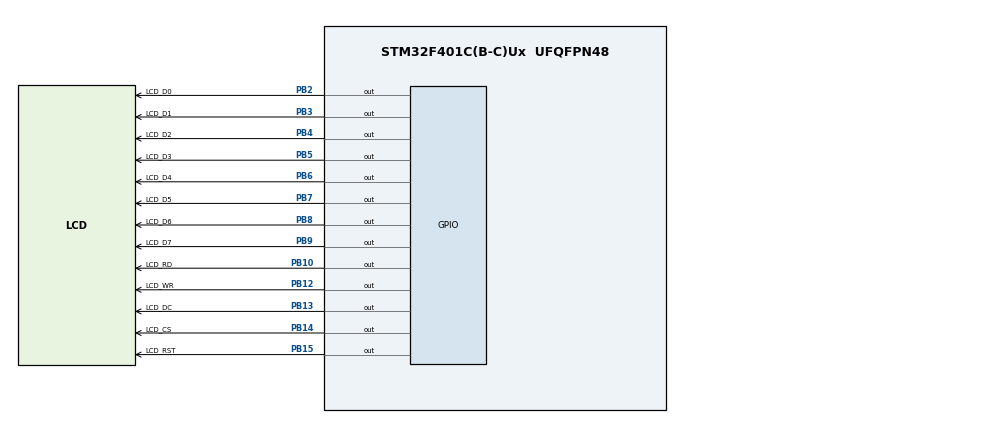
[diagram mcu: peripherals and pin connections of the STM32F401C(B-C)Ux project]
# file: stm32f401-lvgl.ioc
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ADC1.Channel-2\#ChannelRegularConversion=ADC_CHANNEL_VBAT
ADC1.NbrOfConversionFlag=1
ADC1.Rank-2\#ChannelRegularConversion=1
ADC1.SamplingTime-2\#ChannelRegularConversion=ADC_SAMPLETIME_3CYCLES
ADC1.master=1
Mcu.Family=STM32F4
Mcu.Name=STM32F401C(B-C)Ux
Mcu.Package=UFQFPN48
NVIC.PriorityGroup=NVIC_PRIORITYGROUP_4
PA13.Mode=Serial_Wire
PA13.Signal=SYS_JTMS-SWDIO
PA14.Mode=Serial_Wire
PA14.Signal=SYS_JTCK-SWCLK
PB10.GPIO_Label=LCD_RD
PB10.GPIO_ModeDefaultOutputPP=GPIO_MODE_OUTPUT_PP
PB10.GPIO_PuPd=GPIO_NOPULL
PB10.GPIO_Speed=GPIO_SPEED_FREQ_VERY_HIGH
PB10.PinState=GPIO_PIN_RESET
PB10.Signal=GPIO_Output
PB12.GPIO_Label=LCD_WR
PB12.GPIO_ModeDefaultOutputPP=GPIO_MODE_OUTPUT_PP
PB12.GPIO_PuPd=GPIO_NOPULL
PB12.GPIO_Speed=GPIO_SPEED_FREQ_VERY_HIGH
PB12.PinState=GPIO_PIN_RESET
PB12.Signal=GPIO_Output
PB13.GPIO_Label=LCD_DC
PB13.GPIO_ModeDefaultOutputPP=GPIO_MODE_OUTPUT_PP
PB13.GPIO_PuPd=GPIO_NOPULL
PB13.GPIO_Speed=GPIO_SPEED_FREQ_VERY_HIGH
PB13.PinState=GPIO_PIN_RESET
PB13.Signal=GPIO_Output
PB14.GPIO_Label=LCD_CS
PB14.GPIO_ModeDefaultOutputPP=GPIO_MODE_OUTPUT_PP
PB14.GPIO_PuPd=GPIO_NOPULL
PB14.GPIO_Speed=GPIO_SPEED_FREQ_VERY_HIGH
PB14.PinState=GPIO_PIN_RESET
PB14.Signal=GPIO_Output
PB15.GPIO_Label=LCD_RST
PB15.GPIO_ModeDefaultOutputPP=GPIO_MODE_OUTPUT_PP
PB15.GPIO_PuPd=GPIO_NOPULL
PB15.GPIO_Speed=GPIO_SPEED_FREQ_VERY_HIGH
PB15.PinState=GPIO_PIN_RESET
PB15.Signal=GPIO_Output
PB2.GPIO_Label=LCD_D0
PB2.GPIO_ModeDefaultOutputPP=GPIO_MODE_OUTPUT_PP
PB2.GPIO_PuPd=GPIO_NOPULL
PB2.GPIO_Speed=GPIO_SPEED_FREQ_VERY_HIGH
PB2.PinState=GPIO_PIN_RESET
PB2.Signal=GPIO_Output
PB3.GPIO_Label=LCD_D1
PB3.GPIO_ModeDefaultOutputPP=GPIO_MODE_OUTPUT_PP
PB3.GPIO_PuPd=GPIO_NOPULL
PB3.GPIO_Speed=GPIO_SPEED_FREQ_VERY_HIGH
PB3.PinState=GPIO_PIN_RESET
PB3.Signal=GPIO_Output
PB4.GPIO_Label=LCD_D2
PB4.GPIO_ModeDefaultOutputPP=GPIO_MODE_OUTPUT_PP
PB4.GPIO_PuPd=GPIO_NOPULL
PB4.GPIO_Speed=GPIO_SPEED_FREQ_VERY_HIGH
PB4.PinState=GPIO_PIN_RESET
PB4.Signal=GPIO_Output
PB5.GPIO_Label=LCD_D3
PB5.GPIO_ModeDefaultOutputPP=GPIO_MODE_OUTPUT_PP
PB5.GPIO_PuPd=GPIO_NOPULL
PB5.GPIO_Speed=GPIO_SPEED_FREQ_VERY_HIGH
PB5.PinState=GPIO_PIN_RESET
PB5.Signal=GPIO_Output
PB6.GPIO_Label=LCD_D4
PB6.GPIO_ModeDefaultOutputPP=GPIO_MODE_OUTPUT_PP
PB6.GPIO_PuPd=GPIO_NOPULL
PB6.GPIO_Speed=GPIO_SPEED_FREQ_VERY_HIGH
PB6.PinState=GPIO_PIN_RESET
PB6.Signal=GPIO_Output
PB7.GPIO_Label=LCD_D5
PB7.GPIO_ModeDefaultOutputPP=GPIO_MODE_OUTPUT_PP
PB7.GPIO_PuPd=GPIO_NOPULL
PB7.GPIO_Speed=GPIO_SPEED_FREQ_VERY_HIGH
PB7.PinState=GPIO_PIN_RESET
PB7.Signal=GPIO_Output
PB8.GPIO_Label=LCD_D6
PB8.GPIO_ModeDefaultOutputPP=GPIO_MODE_OUTPUT_PP
PB8.GPIO_PuPd=GPIO_NOPULL
PB8.GPIO_Speed=GPIO_SPEED_FREQ_VERY_HIGH
PB8.PinState=GPIO_PIN_RESET
PB8.Signal=GPIO_Output
PB9.GPIO_Label=LCD_D7
PB9.GPIO_ModeDefaultOutputPP=GPIO_MODE_OUTPUT_PP
PB9.GPIO_PuPd=GPIO_NOPULL
PB9.GPIO_Speed=GPIO_SPEED_FREQ_VERY_HIGH
PB9.PinState=GPIO_PIN_RESET
PB9.Signal=GPIO_Output
PC14-OSC32_IN.Mode=LSE-External-Oscillator
PC14-OSC32_IN.Signal=RCC_OSC32_IN
PC15-OSC32_OUT.Mode=LSE-External-Oscillator
PC15-OSC32_OUT.Signal=RCC_OSC32_OUT
ProjectManager.HeapSize=0x800
ProjectManager.StackSize=0x1000
ProjectManager.TargetToolchain=Makefile
RCC.48MHZClocksFreq_Value=42000000
RCC.AHBFreq_Value=84000000
RCC.APB1CLKDivider=RCC_HCLK_DIV2
RCC.APB1Freq_Value=42000000
RCC.APB1TimFreq_Value=84000000
RCC.APB2Freq_Value=84000000
RCC.APB2TimFreq_Value=84000000
RCC.CortexFreq_Value=84000000
RCC.HCLKFreq_Value=84000000
RCC.HSE_VALUE=25000000
RCC.HSI_VALUE=16000000
RCC.PLLM=8
RCC.PLLN=84
RCC.SYSCLKFreq_VALUE=84000000
RCC.SYSCLKSource=RCC_SYSCLKSOURCE_PLLCLK
RCC.VCOOutputFreq_Value=168000000
VP_ADC1_Vbat_Input.Mode=IN-Vbat
VP_ADC1_Vref_Input.Mode=IN-Vrefint
board=custom

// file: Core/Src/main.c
/* USER CODE BEGIN Header */
/**
  ******************************************************************************
  * @file           : main.c
  * @brief          : Main program body
  ******************************************************************************
  * @attention
  *
  * <h2><center>&copy; Copyright (c) 2020 STMicroelectronics.
  * All rights reserved.</center></h2>
  *
  * This software component is licensed by ST under BSD 3-Clause license,
  * the "License"; You may not use this file except in compliance with the
  * License. You may obtain a copy of the License at:
  *                        opensource.org/licenses/BSD-3-Clause
  *
  ******************************************************************************
  */
/* USER CODE END Header */
#include "main.h"
#include "adc.h"
#include "gpio.h"

/* USER CODE BEGIN Includes */
#include "SSD1963.h"
#include <stdio.h>
#include <string.h>
#include "lvgl/lvgl.h"
#include "lvgl_init_f4.h"

#include "lv_demo_conf.h"

// #include "touchpad.h"

/* USER CODE END Includes */

void SystemClock_Config(void);

int main(void)
{
  /* USER CODE BEGIN 1 */
#ifdef SEMIHOSTING_ENABLE
  initialise_monitor_handles();
#endif
  /* USER CODE END 1 */

  /* MCU Configuration--------------------------------------------------------*/

  /* Reset of all peripherals, Initializes the Flash interface and the Systick. */

  LL_APB2_GRP1_EnableClock(LL_APB2_GRP1_PERIPH_SYSCFG);
  LL_APB1_GRP1_EnableClock(LL_APB1_GRP1_PERIPH_PWR);

  NVIC_SetPriorityGrouping(NVIC_PRIORITYGROUP_4);

  /* System interrupt init*/

  /* USER CODE BEGIN Init */
  SET_BIT(RCC->APB2ENR, RCC_APB2ENR_SYSCFGEN); // __HAL_RCC_SYSCFG_CLK_ENABLE();
  SET_BIT(RCC->APB1ENR, RCC_APB1ENR_PWREN); // __HAL_RCC_PWR_CLK_ENABLE();
  /* USER CODE END Init */

  /* Configure the system clock */
  SystemClock_Config();

  /* Initialize all configured peripherals */
  MX_GPIO_Init();
  MX_ADC1_Init();
  /* USER CODE BEGIN 2 */

  // ---------------------
  SysTick_Config(84000);
  // ---------------------

  // lcdBacklightOn();

  // LV_COLOR_DEPTH 32
  Display_Init(1); /* - 0&3 480x800,  1&2 800x480 */
  lv_init();
  lv_lcd_init();

    // LCD_ORIENTATION_PORTRAIT 		= 0,
    // LCD_ORIENTATION_LANDSCAPE 		= 1,
    // LCD_ORIENTATION_PORTRAIT_MIRROR 	= 2,
    // LCD_ORIENTATION_LANDSCAPE_MIRROR = 3
  // lcdSetOrientation(1);
  // lcdFillRGB(0);
  // LL_mDelay(250);

  // lv_touchpad_init();
  // ---------------------

  // ---------------------

  // lv_example_arc_1();
  // lv_example_arc_2();

  // lv_example_animimg_1();

  // lv_example_bar_1();
  // lv_example_bar_2();
  // lv_example_bar_3();
  // lv_example_bar_4();
  // lv_example_bar_5();
  // lv_example_bar_6();

  // lv_example_btn_1();
  // lv_example_btn_2();
  // lv_example_btn_3();

  // lv_example_btnmatrix_1();
  // lv_example_btnmatrix_2();
  // lv_example_btnmatrix_3();

  // lv_example_calendar_1();

  // lv_example_canvas_1();
  // lv_example_canvas_2();

  // lv_example_chart_1();
  // lv_example_chart_2();
  // lv_example_chart_3();
  // lv_example_chart_4();
  // lv_example_chart_5();
  // lv_example_chart_6();
  // lv_example_chart_7();
  // lv_example_chart_8();
  // lv_example_chart_9();

  // lv_example_checkbox_1();
  // lv_example_checkbox_2();

  // lv_example_colorwheel_1();

  // lv_example_dropdown_1();
  // lv_example_dropdown_2();
  // lv_example_dropdown_3();

  // lv_example_img_1();
  // lv_example_img_2();
  // lv_example_img_3();
  // lv_example_img_4();

  // lv_example_imgbtn_1();

  // lv_example_keyboard_1();

  // lv_example_label_1();
  // lv_example_label_2();
  // lv_example_label_3();
  // lv_example_label_4();

  // lv_example_led_1();

  // lv_example_line_1();

  // lv_example_list_1();
  // lv_example_list_2();

  // lv_example_menu_1();
  // lv_example_menu_2();
  // lv_example_menu_3();
  // lv_example_menu_4();
  // lv_example_menu_5();

  // lv_example_meter_1();
  // lv_example_meter_2();
  // lv_example_meter_3(); // clock with dial
  // lv_example_meter_4();

  // lv_example_msgbox_1();

  // lv_example_obj_1();
  // lv_example_obj_2();

  // lv_example_roller_1();
  // lv_example_roller_2();
  // lv_example_roller_3();

  // lv_example_slider_1();
  // lv_example_slider_2();
  // lv_example_slider_3();

  // lv_example_spinbox_1();

  // lv_example_spinner_1();

  // lv_example_switch_1();

  // lv_example_table_1();
  // lv_example_table_2();

  // lv_example_tabview_1();
  // lv_example_tabview_2();

  // lv_example_textarea_1();
  // lv_example_textarea_2();
  // lv_example_textarea_3();

  // lv_example_tileview_1();

  // lv_example_win_1();

  // lv_example_span_1();

  // ---------------------

  // ---------------------
  // lv_demo_widgets();
  // lv_demo_stress();
  // lv_demo_benchmark();
  // lv_demo_music();

  // ---------------------

  // ---------------------
  // lv_example_style_11();
  // lv_example_scroll_1();
  // lv_example_flex_1();
  // lv_example_flex_6();
  // lv_example_event_1();
  // ---------------------
  // user_tabview_6();
  // ---------------------
   lv_example_clock_1(lv_scr_act());

  /* USER CODE END 2 */

  /* Infinite loop */
  /* USER CODE BEGIN WHILE */
  while (1)  {
    lv_task_handler();
    LL_mDelay(25);
    /* USER CODE END WHILE */

	}
}

void SystemClock_Config(void)
{
  LL_FLASH_SetLatency(LL_FLASH_LATENCY_2);
  while(LL_FLASH_GetLatency()!= LL_FLASH_LATENCY_2)
  {
  }
  LL_PWR_SetRegulVoltageScaling(LL_PWR_REGU_VOLTAGE_SCALE2);
  LL_RCC_HSI_SetCalibTrimming(16);
  LL_RCC_HSI_Enable();

   /* Wait till HSI is ready */
  while(LL_RCC_HSI_IsReady() != 1)
  {

  }
  LL_RCC_PLL_ConfigDomain_SYS(LL_RCC_PLLSOURCE_HSI, LL_RCC_PLLM_DIV_8, 84, LL_RCC_PLLP_DIV_2);
  LL_RCC_PLL_Enable();

   /* Wait till PLL is ready */
  while(LL_RCC_PLL_IsReady() != 1)
  {

  }
  LL_RCC_SetAHBPrescaler(LL_RCC_SYSCLK_DIV_1);
  LL_RCC_SetAPB1Prescaler(LL_RCC_APB1_DIV_2);
  LL_RCC_SetAPB2Prescaler(LL_RCC_APB2_DIV_1);
  LL_RCC_SetSysClkSource(LL_RCC_SYS_CLKSOURCE_PLL);

   /* Wait till System clock is ready */
  while(LL_RCC_GetSysClkSource() != LL_RCC_SYS_CLKSOURCE_STATUS_PLL)
  {

  }
  LL_Init1msTick(84000000);
  LL_SetSystemCoreClock(84000000);
  LL_RCC_SetTIMPrescaler(LL_RCC_TIM_PRESCALER_TWICE);
}

void Error_Handler(void)
{
}
